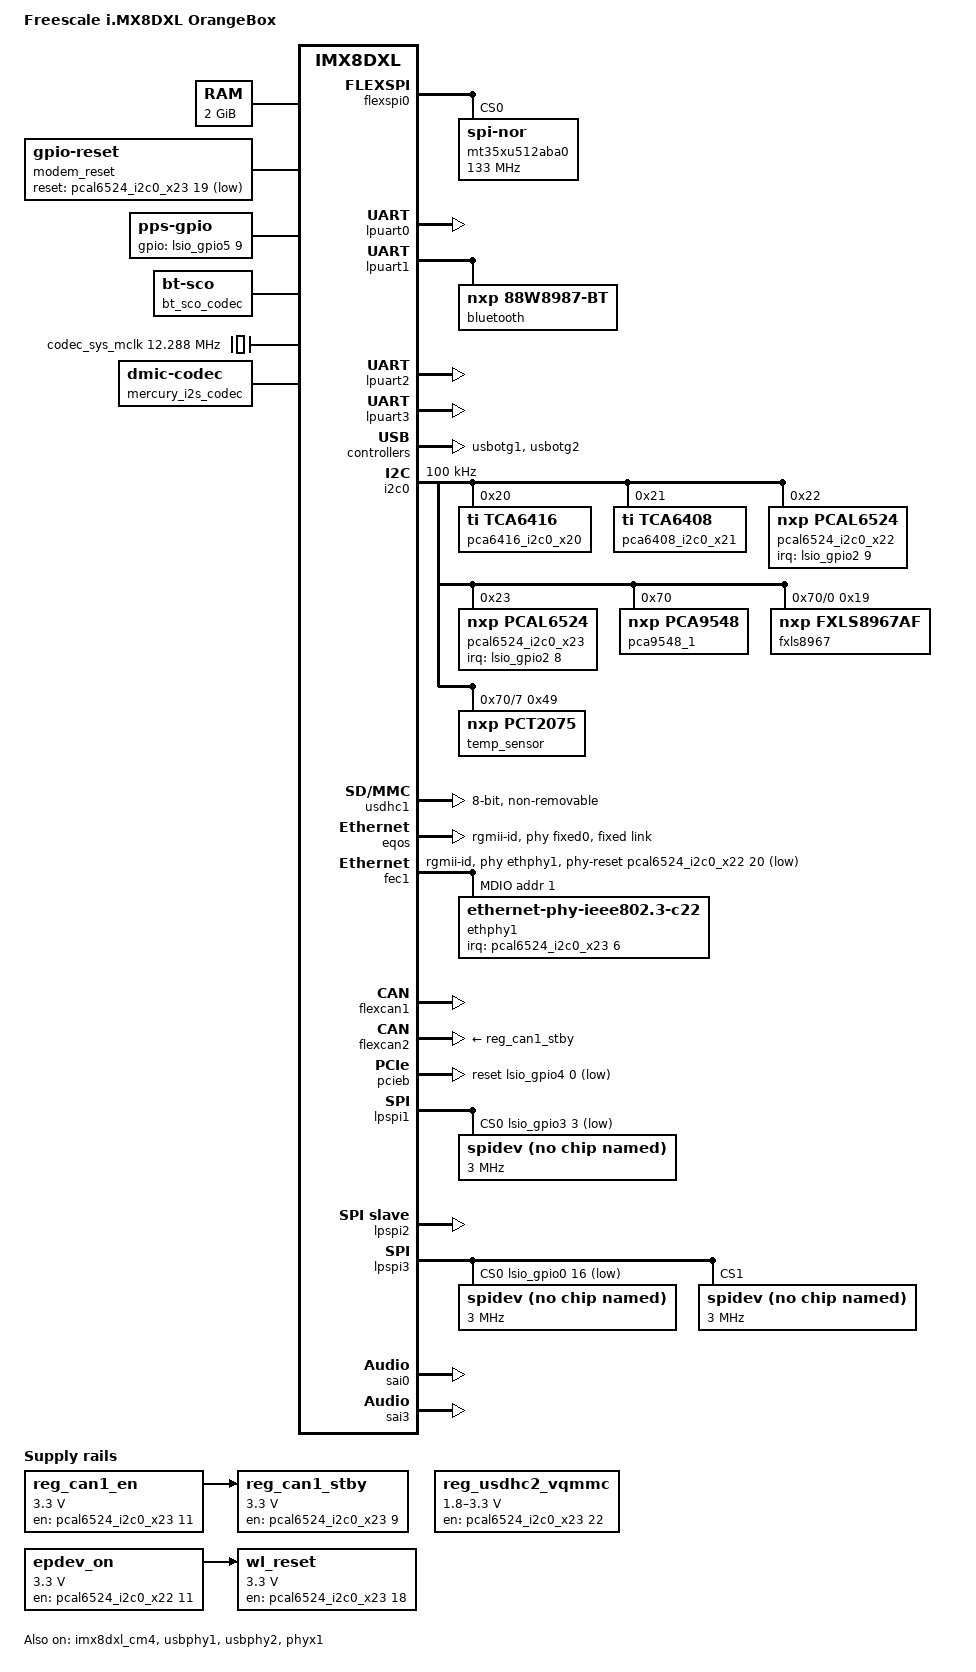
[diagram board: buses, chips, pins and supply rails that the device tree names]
// SPDX-License-Identifier: GPL-2.0+
/*
 * Copyright 2022-2023 NXP
 */

/dts-v1/;

#include "imx8dxl.dtsi"

/ {
	model = "Freescale i.MX8DXL OrangeBox";
	compatible = "fsl,imx8dxl-orangebox", "fsl,imx8dxl";

	aliases {
		can0 = &flexcan1;
		can1 = &flexcan2;
	};

	chosen {
		stdout-path = &lpuart0;
	};

	memory@80000000 {
		device_type = "memory";
		reg = <0x00000000 0x80000000 0 0x80000000>;
	};

	reserved-memory {
		#address-cells = <2>;
		#size-cells = <2>;
		ranges;

/*
 *		Memory reserved for optee usage. Please do not use.
 *		This will be automaticky added to dtb if OP-TEE is installed.
 *		optee@96000000 {
 *			reg = <0 0x96000000 0 0x2000000>;
 *			no-map;
 *		};
 */
		/* global autoconfigured region for contiguous allocations */
		linux,cma {
			compatible = "shared-dma-pool";
			reusable;
			size = <0 0x14000000>;
			alloc-ranges = <0 0x98000000 0 0x14000000>;
			linux,cma-default;
		};

		vdev0vring0: vdev0vring0@90000000 {
			reg = <0 0x90000000 0 0x8000>;
			no-map;
		};

		vdev0vring1: vdev0vring1@90008000 {
			reg = <0 0x90008000 0 0x8000>;
			no-map;
		};

		vdev1vring0: vdev1vring0@90010000 {
			reg = <0 0x90010000 0 0x8000>;
			no-map;
		};

		vdev1vring1: vdev1vring1@90018000 {
			reg = <0 0x90018000 0 0x8000>;
			no-map;
		};

		rsc_table: rsc-table@900ff000 {
			reg = <0 0x900ff000 0 0x1000>;
			no-map;
		};

		vdevbuffer: vdevbuffer {
			compatible = "shared-dma-pool";
			reg = <0 0x90400000 0 0x100000>;
			no-map;
		};
	};

	modem_reset: modem-reset {
		compatible = "gpio-reset";
		reset-gpios = <&pcal6524_i2c0_x23 19 GPIO_ACTIVE_LOW>;
		reset-delay-us = <2000>;
		reset-post-delay-ms = <40>;
		#reset-cells = <0>;
	};

	pps {
		compatible = "pps-gpio";
		pinctrl-names = "default";
		pinctrl-0 = <&pinctrl_pps>;
		gpios = <&lsio_gpio5 9 GPIO_ACTIVE_HIGH>;
		status = "okay";
	};

	reg_can1_en: regulator-can1-en{
		compatible = "regulator-fixed";
		regulator-name = "can1-en";
		regulator-min-microvolt = <3300000>;
		regulator-max-microvolt = <3300000>;
		gpio = <&pcal6524_i2c0_x23 11 GPIO_ACTIVE_HIGH>;
		enable-active-high;
	};

	reg_can1_stby: regulator-can1-stby {
		compatible = "regulator-fixed";
		regulator-name = "can1-stby";
		regulator-min-microvolt = <3300000>;
		regulator-max-microvolt = <3300000>;
		gpio = <&pcal6524_i2c0_x23 9 GPIO_ACTIVE_HIGH>;
		enable-active-high;
		vin-supply = <&reg_can1_en>;
	};

	reg_usdhc2_vqmmc: regulator-1 {
		compatible = "regulator-gpio";
		regulator-name = "usdhc2_1v8_3v3";
		regulator-min-microvolt = <1800000>;
		regulator-max-microvolt = <3300000>;
		enable-gpios = <&pcal6524_i2c0_x23 22 GPIO_ACTIVE_HIGH>;
		gpios = <&pcal6524_i2c0_x23 17 GPIO_ACTIVE_HIGH>;
		states = <1800000 1>, <3300000 0>;
		enable-active-high;
	};

	epdev_on: regulator-2 {
		compatible = "regulator-fixed";
		regulator-min-microvolt = <3300000>;
		regulator-max-microvolt = <3300000>;
		regulator-name = "epdev_on";
		gpio = <&pcal6524_i2c0_x22 11 GPIO_ACTIVE_HIGH>;
		startup-delay-us = <100000>;
		off-on-delay-us = <100000>;
		enable-active-high;
	};

	wl_reset: regulator-3 {
		compatible = "regulator-fixed";
		regulator-min-microvolt = <3300000>;
		regulator-max-microvolt = <3300000>;
		regulator-name = "wl_reg_on";
		gpio = <&pcal6524_i2c0_x23 18 GPIO_ACTIVE_HIGH>;
		enable-active-high;
		startup-delay-us = <100000>;
		off-on-delay-us = <100000>;
		regulator-always-on;
		regulator-boot-on;
		vin-supply = <&epdev_on>;
	};

	bt_sco_codec: audio-codec-1 {
		#sound-dai-cells = <1>;
		compatible = "linux,bt-sco";
	};

	sound-bt-sco {
		compatible = "simple-audio-card";
		simple-audio-card,name = "bt-sco-audio";
		simple-audio-card,format = "dsp_a";
		simple-audio-card,bitclock-inversion;
		simple-audio-card,frame-master = <&btcpu>;
		simple-audio-card,bitclock-master = <&btcpu>;

		btcpu: simple-audio-card,cpu {
			sound-dai = <&sai0>;
			dai-tdm-slot-num = <2>;
			dai-tdm-slot-width = <16>;
		};

		simple-audio-card,codec {
			sound-dai = <&bt_sco_codec 1>;
		};
	};

	codec_sys_mclk: clock-0 {
		compatible = "fixed-clock";
		clock-frequency = <12288000>;
		clock-output-names = "codec_sys_mclk";
		#clock-cells = <0>;
	};

	mercury_i2s_codec: audio-codec-2 {
		#sound-dai-cells = <0>;
		compatible = "dmic-codec";
		num-channels = <2>;
	};

	sound-mercury {
		compatible = "simple-audio-card";
		simple-audio-card,name = "mercury-audio";
		simple-audio-card,format = "i2s";
		simple-audio-card,frame-master = <&codec>;
		simple-audio-card,bitclock-master = <&codec>;

		simple-audio-card,cpu {
			sound-dai = <&sai3>;
			dai-tdm-slot-num = <2>;
			dai-tdm-slot-width = <32>;
		};

		codec: simple-audio-card,codec {
			sound-dai = <&mercury_i2s_codec>;
		};
	};
};

&edma2 {
	status = "okay";
};

&edma3 {
	status = "okay";
};

&flexspi0 {
	pinctrl-names = "default";
	pinctrl-0 = <&pinctrl_flexspi0>;
	nxp,fspi-dll-slvdly = <4>;
	status = "okay";

	mt35xu512aba0: flash@0 {
		reg = <0>;
		#address-cells = <1>;
		#size-cells = <1>;
		compatible = "jedec,spi-nor";
		spi-max-frequency = <133000000>;
		spi-tx-bus-width = <8>;
		spi-rx-bus-width = <8>;
	};
};

&imx8dxl_cm4 {
	memory-region = <&vdevbuffer>, <&vdev0vring0>, <&vdev0vring1>,
			<&vdev1vring0>, <&vdev1vring1>, <&rsc_table>;
	status = "okay";
};

&cm40_intmux {
	status = "disabled";
};

&lpuart0 {
	pinctrl-names = "default";
	pinctrl-0 = <&pinctrl_lpuart0>;
	status = "okay";
};

&lpuart1 {
	pinctrl-names = "default";
	pinctrl-0 = <&pinctrl_lpuart1>;
	resets = <&modem_reset>;
	status = "okay";

	bluetooth {
		compatible = "nxp,88w8987-bt";
		fw-init-baudrate = <3000000>;
	};
};

&lpuart2 {
	pinctrl-names = "default";
	pinctrl-0 = <&pinctrl_lpuart2>;
	status = "okay";
};

&lpuart3 {
	pinctrl-names = "default";
	pinctrl-0 = <&pinctrl_lpuart3>;
	status = "okay";
};

&cm40_lpuart {
	pinctrl-names = "default";
	pinctrl-0 = <&pinctrl_cm40_lpuart>;
	status = "disabled";
};

&thermal_zones {
	pmic-thermal0 {
		polling-delay-passive = <250>;
		polling-delay = <2000>;
		thermal-sensors = <&tsens IMX_SC_R_PMIC_0>;
		trips {
			pmic_alert0: trip0 {
				temperature = <110000>;
				hysteresis = <2000>;
				type = "passive";
			};
			pmic_crit0: trip1 {
				temperature = <125000>;
				hysteresis = <2000>;
				type = "critical";
			};
		};
		cooling-maps {
			map0 {
				trip = <&pmic_alert0>;
				cooling-device =
					<&A35_0 THERMAL_NO_LIMIT THERMAL_NO_LIMIT>,
					<&A35_1 THERMAL_NO_LIMIT THERMAL_NO_LIMIT>;
			};
		};
	};
};

&usbphy1 {
	status = "okay";
	fsl,tx-d-cal = <114>;
};

&usbotg1 {
	pinctrl-names = "default";
	pinctrl-0 = <&pinctrl_usbotg1>;
	srp-disable;
	hnp-disable;
	adp-disable;
	power-active-high;
	disable-over-current;
	status = "okay";
};

&usbphy2 {
	status = "okay";
	fsl,tx-d-cal = <111>;
};

&usbotg2 {
	pinctrl-names = "default";
	pinctrl-0 = <&pinctrl_usbotg2>;
	srp-disable;
	hnp-disable;
	adp-disable;
	power-active-high;
	disable-over-current;
	status = "okay";
};

&i2c0 {
	#address-cells = <1>;
	#size-cells = <0>;
	clock-frequency = <100000>;
	pinctrl-names = "default";
	pinctrl-0 = <&pinctrl_i2c0>;
	status = "okay";

	pca6416_i2c0_x20: gpio@20 {
		compatible = "ti,tca6416";
		reg = <0x20>;
		gpio-controller;
		#gpio-cells = <2>;
	};

	pca6408_i2c0_x21: gpio@21 {
		compatible = "ti,tca6408";
		reg = <0x21>;
		gpio-controller;
		#gpio-cells = <2>;
		gpio-line-names =
			"V2X_CARD_PRSNT_B",
			"MDM_CARD_PRSNT_B",
			"MDM_CARD_TYPE0",
			"MDM_CARD_TYPE1",
			"MDM_CARD_TYPE2",
			"MDM_CARD_REV0",
			"MDM_CARD_REV1",
			"MERCURY_CARD_PRSNT_B";
	};

	pcal6524_i2c0_x22: gpio@22 {
		compatible = "nxp,pcal6524";
		pinctrl-names = "default";
		pinctrl-0 = <&pinctrl_pcal6524_i2c0_x22>;
		reg = <0x22>;
		gpio-controller;
		#gpio-cells = <2>;
		interrupt-controller;
		#interrupt-cells = <2>;
		interrupt-parent = <&lsio_gpio2>;
		interrupts = <9 IRQ_TYPE_EDGE_BOTH>;
		gpio-line-names =
			"INTB_MERCURY",
			"SXF1800_GPIO0",
			"SXF1800_GPIO1",
			"M2_WIFI_WAKE_B",
			"MDM_PWRKEY",
			"",
			"V2X_PMIC_STANBY",
			"SDHC1_CD_B",
			"RST_SXF1800_B",
			"M2_WIFI_EN",
			"M2_DEV_WLAN_WAKE",
			"M2_DEV_BT_WAKE",
			"MDM_GPIO131",
			"MDM_GPIO132",
			"MDM_GPIO133",
			"MDM_GPIO27",
			"GPIO_MDM_RST_B",
			"GPIO_ESW_RST_CORE_B",
			"GPIO_GNSS_RST_B",
			"GPIO_ENET0_PHY_RST_B",
			"GPIO_S32K_RST_B",
			"MDM_GPIO134",
			"MDM_GPIO135";

		epon_hog: epon-select-hog {
			gpio-hog;
			gpios = <11 GPIO_ACTIVE_HIGH>;
			output-low;
			line-name = "epdev selelct";
		};
	};

	pcal6524_i2c0_x23: gpio@23 {
		compatible = "nxp,pcal6524";
		pinctrl-names = "default";
		pinctrl-0 = <&pinctrl_pcal6524_i2c0_x23>;
		reg = <0x23>;
		gpio-controller;
		#gpio-cells = <2>;
		interrupt-controller;
		#interrupt-cells = <2>;
		interrupt-parent = <&lsio_gpio2>;
		interrupts = <8 IRQ_TYPE_EDGE_BOTH>;
		gpio-line-names =
			"BATT_CHGOK_B",
			"IMX_CAN1_EN",
			"M2_BT_UART_WAKE_B",
			"ESW_INT_B",
			"IMX_GNSS_GEOFENCE_STAT",
			"IMX_GNSS_RTK_STAT",
			"ENET0_PHY_INT_B",
			"BRD_THERM_FLT_B",
			"IMX_CAN0_STB_B",
			"IMX_CAN1_STB_B",
			"IMX_CAN0_EN",
			"IMX_CAN1_EN",
			"CFG_MUX_MERCURY_I2S_SEL",
			"CFG_MUX_RGMII0_SDHC_SEL",
			"CFG_MUX_USB1_SEL0",
			"CFG_MUX_USB1_SEL1",
			"IMX_GNSS_EXT_INT",
			"SDHC1_VSELECT",
			"M2_WIFI_DIS_B",
			"M2_BT_DIS_B",
			"CFG_MUX_IMX_MDM_M2_SEL",
			"PWR_EN_SXF1800",
			"SDHC1_RST_B",
			"CFG_MUX_GNSS_1PPS_SEL";

		cfg_mux_mercury_i2s_sel {
			gpio-hog;
			gpios = <12 GPIO_ACTIVE_HIGH>;
			output-low;
			line-name = "cfg_mux_mercury_i2s_sel";
		};

		fec1_select_hog: fec1-select-hog {
			gpio-hog;
			gpios = <13 GPIO_ACTIVE_LOW>;
			output-high;
			line-name = "fec1_select";
		};

		wl_disable: m2-wifi-dis-hog {
			gpio-hog;
			gpios = <18 GPIO_ACTIVE_HIGH>;
			output-low;
			line-name = "m.2_wifi_dis_b";
		};

		pwr_en_sxf1800 {
			gpio-hog;
			gpios = <21 GPIO_ACTIVE_HIGH>;
			output-high;
			line-name = "SXF1800 Power enable";
		};
	};

	pca9548_1: pca9548@70 {
		compatible = "nxp,pca9548";
		#address-cells = <1>;
		#size-cells = <0>;
		reg = <0x70>;

		i2c@0 {
			#address-cells = <1>;
			#size-cells = <0>;
			reg = <0x0>;

			fxls8967@19 {
				compatible = "nxp,fxls8967af";
				reg = <0x19>;
				status = "okay";
			};
		};

		i2c@1 {
			#address-cells = <1>;
			#size-cells = <0>;
			reg = <0x1>;

			gnss@42 {
				reg = <0x42>;
				status = "disabled";
			};

			eeprom@50 {
				compatible = "atmel,24c08";
				pagesize = <16>;
				reg = <0x50>;
				status = "disabled";
			};
		};

		i2c@2 {
			#address-cells = <1>;
			#size-cells = <0>;
			reg = <0x2>;
		};

		i2c@3 {
			#address-cells = <1>;
			#size-cells = <0>;
			reg = <0x3>;

			clk_gen@6b {
				reg = <0x6b>;
				status = "disabled";
			};
		};

		i2c@4 {
			#address-cells = <1>;
			#size-cells = <0>;
			reg = <0x4>;
		};

		i2c@5 {
			#address-cells = <1>;
			#size-cells = <0>;
			reg = <0x5>;
		};

		i2c@6 {
			#address-cells = <1>;
			#size-cells = <0>;
			reg = <0x6>;

			mercury_card@27 {
				reg = <0x27>;
				status = "disabled";
			};
		};

		i2c@7 {
			#address-cells = <1>;
			#size-cells = <0>;
			reg = <0x7>;

			temp_sensor@49 {
				compatible = "nxp,pct2075";
				reg = <0x49>;
			};
		};
	};
};

&lsio_gpio0 {
	gpio-line-names =
		"", "", "", "", /* 0-3 */
		"", "", "", "", /* 4-7 */
		"", "", "", "", /* 8-11 */
		"",
		"IMX_SPI3_SCK", /* 13 */
		"IMX_SPI3_MOSI",
		"IMX_SPI3_MISO",
		"IMX_SPI3_CS0_B",
		"", "",
		"TP67", /* 16 */
		"TP68",
		"IMX_UART1_TXD",
		"IMX_UART1_RXD",
		"IMX_UART1_RTS",
		"IMX_UART1_CTS";

	status = "okay";
};

&lsio_gpio1 {
	gpio-line-names =
		"", "", "", "", /* 0 -3 */
		"IMX_SAI0_TXC", /* 4 */
		"IMX_SAI0_TXD",
		"IMX_SAI0_TXFS",
		"IMX_V2X_RST_B",
		"IMX_SAI0_RXD", /* 8 */
		"IMX_I2C0_1V8_SDA",
		"IMX_I2C0_1V8_SCL",
		"IMX_M40_UART0_1V8_TX",
		"IMX_M40_UART0_1V8_RX", /* 12 */
		"IMX_PAD_AG35",
		"",
		"IMX_CAN0_3V3_RX",
		"IMX_CAN0_3V3_TX", /* 16 */
		"IMX_CAN1_3V3_RX",
		"IMX_CAN1_3V3_TX",
		"IMX_UART3_3V3_RX",
		"IMX_UART3_3V3_TX", /* 20 */
		"IMX_UART0_3V3_RX",
		"IMX_UART0_3V3_TX",
		"IMX_UART2_3V3_TX",
		"IMX_UART2_3V3_RX"; /* 24 */
	status = "okay";
};

&lsio_gpio2 {
	status = "okay";
};

&lsio_gpio4 {
	status = "okay";
};

&lsio_gpio5 {
	status = "okay";
};

&usdhc1 {
	pinctrl-names = "default", "state_100mhz", "state_200mhz";
	pinctrl-0 = <&pinctrl_usdhc1>;
	pinctrl-1 = <&pinctrl_usdhc1_100mhz>;
	pinctrl-2 = <&pinctrl_usdhc1_200mhz>;
	bus-width = <8>;
	no-sd;
	no-sdio;
	non-removable;
	status = "okay";
};

&eqos {
	pinctrl-names = "default";
	pinctrl-0 = <&pinctrl_eqos>;
	phy-mode = "rgmii-id";
	phy-handle = <&fixed0>;
	nvmem-cells = <&fec_mac1>;
	nvmem-cell-names = "mac-address";
	status = "okay";

	fixed0:fixed-link {
		speed = <1000>;
		full-duplex;
	};
};

&fec1 {
	pinctrl-names = "default";
	pinctrl-0 = <&pinctrl_fec1>;
	phy-mode = "rgmii-id";
	phy-handle = <&ethphy1>;
	fsl,magic-packet;
	nvmem-cells = <&fec_mac0>;
	nvmem-cell-names = "mac-address";
	phy-reset-gpios = <&pcal6524_i2c0_x22 20 GPIO_ACTIVE_LOW>;
	phy-reset-duration = <10>;
	phy-reset-post-delay = <150>;
	assigned-clocks = <&clk IMX_SC_R_ENET_0 IMX_SC_C_CLKDIV>;
	assigned-clock-rates = <12000000>;
	status = "okay";

	mdio {
		#address-cells = <1>;
		#size-cells = <0>;

		/* Realtek RTL8211F (0x001cc916) */
		ethphy1: ethernet-phy@1 {
			compatible = "ethernet-phy-ieee802.3-c22";
			interrupt-parent = <&pcal6524_i2c0_x23>;
			interrupts = <6 IRQ_TYPE_LEVEL_LOW>;
			reg = <1>;
			max-speed = <1000>;
		};
	};
};

&flexcan1 {
	pinctrl-names = "default";
	pinctrl-0 = <&pinctrl_flexcan1>;
	status = "okay";
};

&flexcan2 {
	pinctrl-names = "default";
	pinctrl-0 = <&pinctrl_flexcan2>;
	xceiver-supply = <&reg_can1_stby>;
	status = "okay";
};

&usdhc2 {
	pinctrl-names = "default", "state_100mhz", "state_200mhz";
	pinctrl-0 = <&pinctrl_usdhc2>;
	pinctrl-1 = <&pinctrl_usdhc2_100mhz>;
	pinctrl-2 = <&pinctrl_usdhc2_200mhz>;
	bus-width = <4>;
	cd-gpios = <&pcal6524_i2c0_x22 7 GPIO_ACTIVE_LOW>;
	vqmmc-supply = <&reg_usdhc2_vqmmc>;
	max-frequency = <100000000>;
	status = "disabled";
};

&usdhc3 {
	pinctrl-names = "default", "state_100mhz", "state_200mhz";
	pinctrl-0 = <&pinctrl_usdhc3>;
	pinctrl-1 = <&pinctrl_usdhc3_100mhz>;
	pinctrl-2 = <&pinctrl_usdhc3_200mhz>;
	bus-width = <4>;
	no-sd;
	non-removable;
	max-frequency = <100000000>;
	status = "disabled";
};

&phyx1 {
	fsl,refclk-pad-mode = <IMX8_PCIE_REFCLK_PAD_OUTPUT>;
	status = "okay";
};

&pcieb{
	pinctrl-names = "default";
	pinctrl-0 = <&pinctrl_pcieb>;
	clkreq-gpio = <&lsio_gpio4 1 GPIO_ACTIVE_LOW>;
	reset-gpio = <&lsio_gpio4 0 GPIO_ACTIVE_LOW>;
	vpcie-supply = <&epdev_on>;
	status = "okay";
};

&lpspi1 {
	fsl,spi-num-chipselects = <1>;
	pinctrl-names = "default";
	pinctrl-0 = <&pinctrl_lpspi1 &pinctrl_lpspi1_cs>;
	cs-gpios = <&lsio_gpio3 3 GPIO_ACTIVE_LOW>;
	status = "okay";

	spidev@0 {
		compatible = "rohm,dh2228fv";
		spi-max-frequency = <3000000>;
		reg = <0>;
	};
};

&lpspi2 {
	pinctrl-names = "default";
	pinctrl-0 = <&pinctrl_lpspi2>;
	spi-slave;
	status = "okay";
};

&lpspi3 {
	num-cs = <2>;
	cs-gpios = <&lsio_gpio0 16 GPIO_ACTIVE_LOW>, <0>;
	pinctrl-names = "default";
	pinctrl-0 = <&pinctrl_lpspi3>;
	status = "okay";

	spidev@0 {
		compatible = "rohm,dh2228fv";
		spi-max-frequency = <3000000>;
		reg = <0>;
	};

	spidev@1 {
		compatible = "rohm,dh2228fv";
		spi-max-frequency = <3000000>;
		reg = <1>;
	};
};

&sai0 {
	#sound-dai-cells = <0>;
	assigned-clocks = <&clk IMX_SC_R_AUDIO_PLL_0 IMX_SC_PM_CLK_PLL>,
			<&clk IMX_SC_R_AUDIO_PLL_0 IMX_SC_PM_CLK_SLV_BUS>,
			<&clk IMX_SC_R_AUDIO_PLL_0 IMX_SC_PM_CLK_MST_BUS>,
			<&sai0_lpcg 0>;
	assigned-clock-rates = <786432000>, <49152000>, <12288000>, <49152000>;
	pinctrl-names = "default";
	pinctrl-0 = <&pinctrl_sai0>;
	status = "okay";
};

&sai3 {
	#sound-dai-cells = <0>;
	assigned-clocks = <&clk IMX_SC_R_AUDIO_PLL_0 IMX_SC_PM_CLK_PLL>,
			<&clk IMX_SC_R_AUDIO_PLL_0 IMX_SC_PM_CLK_SLV_BUS>,
			<&clk IMX_SC_R_AUDIO_PLL_0 IMX_SC_PM_CLK_MST_BUS>,
			<&sai3_lpcg 0>;
	assigned-clock-rates = <786432000>, <49152000>, <12288000>, <49152000>;
	pinctrl-names = "default";
	pinctrl-0 = <&pinctrl_sai3>;
	fsl,sai-asynchronous;
	status = "okay";
};

&iomuxc {
	pinctrl-names = "default";
	pinctrl-0 = <&pinctrl_hog>;

	pinctrl_hog: hoggrp {
		fsl,pins = <
			IMX8DXL_COMP_CTL_GPIO_1V8_3V3_GPIORHB_PAD	0x000514a0
			IMX8DXL_COMP_CTL_GPIO_1V8_3V3_GPIORHK_PAD	0x000014a0
			IMX8DXL_SPI0_CS1_LSIO_GPIO1_IO07                0x000014a0
		>;
	};

	pinctrl_usbotg1: otg1 {
		fsl,pins = <
			IMX8DXL_USB_SS3_TC0_CONN_USB_OTG1_PWR		0x00000021
		>;
	};

	pinctrl_usbotg2: otg2 {
		fsl,pins = <
			IMX8DXL_USB_SS3_TC1_CONN_USB_OTG2_PWR		0x00000021
		>;
	};

	pinctrl_pps: pps {
		fsl,pins = <
			IMX8DXL_ENET0_REFCLK_125M_25M_LSIO_GPIO5_IO09	0x04000021
		>;
	};

	pinctrl_flexcan1: flexcan1grp {
		fsl,pins = <
			IMX8DXL_FLEXCAN0_TX_ADMA_FLEXCAN0_TX	0x00000021
			IMX8DXL_FLEXCAN0_RX_ADMA_FLEXCAN0_RX	0x00000021
		>;
	};

	pinctrl_flexcan2: flexcan2grp {
		fsl,pins = <
			IMX8DXL_FLEXCAN1_TX_ADMA_FLEXCAN1_TX	0x00000021
			IMX8DXL_FLEXCAN1_RX_ADMA_FLEXCAN1_RX	0x00000021
		>;
	};

	pinctrl_flexspi0: flexspi0grp {
		fsl,pins = <
			IMX8DXL_QSPI0A_DATA0_LSIO_QSPI0A_DATA0		0x06000021
			IMX8DXL_QSPI0A_DATA1_LSIO_QSPI0A_DATA1		0x06000021
			IMX8DXL_QSPI0A_DATA2_LSIO_QSPI0A_DATA2		0x06000021
			IMX8DXL_QSPI0A_DATA3_LSIO_QSPI0A_DATA3		0x06000021
			IMX8DXL_QSPI0A_DQS_LSIO_QSPI0A_DQS		0x06000021
			IMX8DXL_QSPI0A_SS0_B_LSIO_QSPI0A_SS0_B		0x06000021
			IMX8DXL_QSPI0A_SCLK_LSIO_QSPI0A_SCLK		0x06000021
			IMX8DXL_QSPI0B_SCLK_LSIO_GPIO3_IO17		0x06000021 /* GNSS_WHEELTICK_1V8 */
			IMX8DXL_QSPI0B_DATA0_LSIO_QSPI0B_DATA0		0x06000021
			IMX8DXL_QSPI0B_DATA1_LSIO_QSPI0B_DATA1		0x06000021
			IMX8DXL_QSPI0B_DATA2_LSIO_QSPI0B_DATA2		0x06000021
			IMX8DXL_QSPI0B_DATA3_LSIO_QSPI0B_DATA3		0x06000021
			IMX8DXL_QSPI0B_DQS_LSIO_GPIO3_IO22		0x06000021 /* GNSS_DIR_1V8 */
			IMX8DXL_QSPI0B_SS0_B_LSIO_GPIO3_IO23		0x06000021 /* MERCURY_GPIO2_1V8 */
		>;
	};

	pinctrl_lpuart0: lpuart0grp {
		fsl,pins = <
			IMX8DXL_UART0_RX_ADMA_UART0_RX		0x06000020
			IMX8DXL_UART0_TX_ADMA_UART0_TX		0x06000020
		>;
	};

	pinctrl_pcieb: pcieagrp{
		fsl,pins = <
			IMX8DXL_PCIE_CTRL0_PERST_B_LSIO_GPIO4_IO00      0x06000021
			IMX8DXL_PCIE_CTRL0_CLKREQ_B_LSIO_GPIO4_IO01     0x06000021
			IMX8DXL_PCIE_CTRL0_WAKE_B_LSIO_GPIO4_IO02       0x04000021
		>;
	};

	pinctrl_lpuart1: lpuart1grp {
		fsl,pins = <
			IMX8DXL_UART1_TX_ADMA_UART1_TX          0x06000020
			IMX8DXL_UART1_RX_ADMA_UART1_RX          0x06000020
			IMX8DXL_UART1_RTS_B_ADMA_UART1_RTS_B    0x06000020
			IMX8DXL_UART1_CTS_B_ADMA_UART1_CTS_B    0x06000020
		>;
	};

	pinctrl_lpuart2: lpuart2grp {
		fsl,pins = <
			IMX8DXL_UART2_RX_ADMA_UART2_RX          0x06000020
			IMX8DXL_UART2_TX_ADMA_UART2_TX          0x06000020
		>;
	};

	pinctrl_lpuart3: lpuart3grp {
		fsl,pins = <
			IMX8DXL_FLEXCAN2_TX_ADMA_UART3_TX          0x06000020
			IMX8DXL_FLEXCAN2_RX_ADMA_UART3_RX          0x06000020
		>;
	};

	pinctrl_i2c0: i2c0grp {
		fsl,pins = <
			IMX8DXL_ADC_IN0_ADMA_I2C0_SCL		0x06000021
			IMX8DXL_ADC_IN1_ADMA_I2C0_SDA		0x06000021
		>;
	};

	pinctrl_cm40_lpuart: cm40_lpuartgrp {
		fsl,pins = <
			IMX8DXL_ADC_IN2_M40_UART0_RX		0x06000020
			IMX8DXL_ADC_IN3_M40_UART0_TX		0x06000020
		>;
	};

	pinctrl_usdhc1: usdhc1grp {
		fsl,pins = <
			IMX8DXL_EMMC0_CLK_CONN_EMMC0_CLK	0x06000041
			IMX8DXL_EMMC0_CMD_CONN_EMMC0_CMD	0x00000021
			IMX8DXL_EMMC0_DATA0_CONN_EMMC0_DATA0	0x00000021
			IMX8DXL_EMMC0_DATA1_CONN_EMMC0_DATA1	0x00000021
			IMX8DXL_EMMC0_DATA2_CONN_EMMC0_DATA2	0x00000021
			IMX8DXL_EMMC0_DATA3_CONN_EMMC0_DATA3	0x00000021
			IMX8DXL_EMMC0_DATA4_CONN_EMMC0_DATA4	0x00000021
			IMX8DXL_EMMC0_DATA5_CONN_EMMC0_DATA5	0x00000021
			IMX8DXL_EMMC0_DATA6_CONN_EMMC0_DATA6	0x00000021
			IMX8DXL_EMMC0_DATA7_CONN_EMMC0_DATA7	0x00000021
			IMX8DXL_EMMC0_STROBE_CONN_EMMC0_STROBE	0x00000041
		>;
	};

	pinctrl_usdhc1_100mhz: usdhc1grp100mhz {
		fsl,pins = <
			IMX8DXL_EMMC0_CLK_CONN_EMMC0_CLK	0x06000041
			IMX8DXL_EMMC0_CMD_CONN_EMMC0_CMD	0x00000021
			IMX8DXL_EMMC0_DATA0_CONN_EMMC0_DATA0	0x00000021
			IMX8DXL_EMMC0_DATA1_CONN_EMMC0_DATA1	0x00000021
			IMX8DXL_EMMC0_DATA2_CONN_EMMC0_DATA2	0x00000021
			IMX8DXL_EMMC0_DATA3_CONN_EMMC0_DATA3	0x00000021
			IMX8DXL_EMMC0_DATA4_CONN_EMMC0_DATA4	0x00000021
			IMX8DXL_EMMC0_DATA5_CONN_EMMC0_DATA5	0x00000021
			IMX8DXL_EMMC0_DATA6_CONN_EMMC0_DATA6	0x00000021
			IMX8DXL_EMMC0_DATA7_CONN_EMMC0_DATA7	0x00000021
			IMX8DXL_EMMC0_STROBE_CONN_EMMC0_STROBE	0x00000041
		>;
	};

	pinctrl_usdhc1_200mhz: usdhc1grp200mhz {
		fsl,pins = <
			IMX8DXL_EMMC0_CLK_CONN_EMMC0_CLK	0x06000041
			IMX8DXL_EMMC0_CMD_CONN_EMMC0_CMD	0x00000021
			IMX8DXL_EMMC0_DATA0_CONN_EMMC0_DATA0	0x00000021
			IMX8DXL_EMMC0_DATA1_CONN_EMMC0_DATA1	0x00000021
			IMX8DXL_EMMC0_DATA2_CONN_EMMC0_DATA2	0x00000021
			IMX8DXL_EMMC0_DATA3_CONN_EMMC0_DATA3	0x00000021
			IMX8DXL_EMMC0_DATA4_CONN_EMMC0_DATA4	0x00000021
			IMX8DXL_EMMC0_DATA5_CONN_EMMC0_DATA5	0x00000021
			IMX8DXL_EMMC0_DATA6_CONN_EMMC0_DATA6	0x00000021
			IMX8DXL_EMMC0_DATA7_CONN_EMMC0_DATA7	0x00000021
			IMX8DXL_EMMC0_STROBE_CONN_EMMC0_STROBE	0x00000041
		>;
	};

	pinctrl_eqos_mdio: eqosmdiogrp {
		fsl,pins = <
			IMX8DXL_ENET0_MDC_CONN_ENET0_MDC		0x06000020
			IMX8DXL_ENET0_MDIO_CONN_EQOS_MDIO		0x06000020
		>;
	};

	pinctrl_eqos: eqosgrp {
		fsl,pins = <
			IMX8DXL_ENET1_RGMII_TX_CTL_CONN_EQOS_RGMII_TX_CTL	0x06000020
			IMX8DXL_ENET1_RGMII_TXC_CONN_EQOS_RGMII_TXC		0x06000020
			IMX8DXL_ENET1_RGMII_TXD0_CONN_EQOS_RGMII_TXD0		0x06000020
			IMX8DXL_ENET1_RGMII_TXD1_CONN_EQOS_RGMII_TXD1		0x06000020
			IMX8DXL_ENET1_RGMII_TXD2_CONN_EQOS_RGMII_TXD2		0x06000020
			IMX8DXL_ENET1_RGMII_TXD3_CONN_EQOS_RGMII_TXD3		0x06000020
			IMX8DXL_ENET1_RGMII_RXC_CONN_EQOS_RGMII_RXC		0x06000020
			IMX8DXL_ENET1_RGMII_RX_CTL_CONN_EQOS_RGMII_RX_CTL	0x06000020
			IMX8DXL_ENET1_RGMII_RXD0_CONN_EQOS_RGMII_RXD0		0x06000020
			IMX8DXL_ENET1_RGMII_RXD1_CONN_EQOS_RGMII_RXD1		0x06000020
			IMX8DXL_ENET1_RGMII_RXD2_CONN_EQOS_RGMII_RXD2		0x06000020
			IMX8DXL_ENET1_RGMII_RXD3_CONN_EQOS_RGMII_RXD3		0x06000020
		>;
	};

	pinctrl_fec1: fec1grp {
		fsl,pins = <
			IMX8DXL_ENET0_MDC_CONN_ENET0_MDC			0x06000020
			IMX8DXL_ENET0_MDIO_CONN_ENET0_MDIO			0x06000020
			IMX8DXL_ENET0_RGMII_TX_CTL_CONN_ENET0_RGMII_TX_CTL	0x00000060
			IMX8DXL_ENET0_RGMII_TXC_CONN_ENET0_RGMII_TXC		0x00000060
			IMX8DXL_ENET0_RGMII_TXD0_CONN_ENET0_RGMII_TXD0		0x00000060
			IMX8DXL_ENET0_RGMII_TXD1_CONN_ENET0_RGMII_TXD1		0x00000060
			IMX8DXL_ENET0_RGMII_TXD2_CONN_ENET0_RGMII_TXD2		0x00000060
			IMX8DXL_ENET0_RGMII_TXD3_CONN_ENET0_RGMII_TXD3		0x00000060
			IMX8DXL_ENET0_RGMII_RXC_CONN_ENET0_RGMII_RXC		0x00000060
			IMX8DXL_ENET0_RGMII_RX_CTL_CONN_ENET0_RGMII_RX_CTL	0x00000060
			IMX8DXL_ENET0_RGMII_RXD0_CONN_ENET0_RGMII_RXD0		0x00000060
			IMX8DXL_ENET0_RGMII_RXD1_CONN_ENET0_RGMII_RXD1		0x00000060
			IMX8DXL_ENET0_RGMII_RXD2_CONN_ENET0_RGMII_RXD2		0x00000060
			IMX8DXL_ENET0_RGMII_RXD3_CONN_ENET0_RGMII_RXD3		0x00000060
		>;
	};

	pinctrl_usdhc2: usdhc2grp {
		fsl,pins = <
			IMX8DXL_ENET0_RGMII_RXC_CONN_USDHC1_CLK		0x06000041
			IMX8DXL_ENET0_RGMII_RX_CTL_CONN_USDHC1_CMD	0x00000021
			IMX8DXL_ENET0_RGMII_RXD0_CONN_USDHC1_DATA0	0x00000021
			IMX8DXL_ENET0_RGMII_RXD1_CONN_USDHC1_DATA1	0x00000021
			IMX8DXL_ENET0_RGMII_RXD2_CONN_USDHC1_DATA2	0x00000021
			IMX8DXL_ENET0_RGMII_RXD3_CONN_USDHC1_DATA3	0x00000021
		>;
	};

	pinctrl_usdhc2_100mhz: usdhc2grp100mhz {
		fsl,pins = <
			IMX8DXL_ENET0_RGMII_RXC_CONN_USDHC1_CLK		0x06000041
			IMX8DXL_ENET0_RGMII_RX_CTL_CONN_USDHC1_CMD	0x00000021
			IMX8DXL_ENET0_RGMII_RXD0_CONN_USDHC1_DATA0	0x00000021
			IMX8DXL_ENET0_RGMII_RXD1_CONN_USDHC1_DATA1	0x00000021
			IMX8DXL_ENET0_RGMII_RXD2_CONN_USDHC1_DATA2	0x00000021
			IMX8DXL_ENET0_RGMII_RXD3_CONN_USDHC1_DATA3	0x00000021
		>;
	};

	pinctrl_usdhc2_200mhz: usdhc2grp200mhz {
		fsl,pins = <
			IMX8DXL_ENET0_RGMII_RXC_CONN_USDHC1_CLK		0x06000041
			IMX8DXL_ENET0_RGMII_RX_CTL_CONN_USDHC1_CMD	0x00000021
			IMX8DXL_ENET0_RGMII_RXD0_CONN_USDHC1_DATA0	0x00000021
			IMX8DXL_ENET0_RGMII_RXD1_CONN_USDHC1_DATA1	0x00000021
			IMX8DXL_ENET0_RGMII_RXD2_CONN_USDHC1_DATA2	0x00000021
			IMX8DXL_ENET0_RGMII_RXD3_CONN_USDHC1_DATA3	0x00000021
		>;
	};

	pinctrl_usdhc3: usdhc3grp {
		fsl,pins = <
			IMX8DXL_ENET0_RGMII_TXC_CONN_USDHC2_CLK         0x06000041
			IMX8DXL_ENET0_RGMII_TX_CTL_CONN_USDHC2_CMD      0x00000021
			IMX8DXL_ENET0_RGMII_TXD0_CONN_USDHC2_DATA0      0x00000021
			IMX8DXL_ENET0_RGMII_TXD1_CONN_USDHC2_DATA1      0x00000021
			IMX8DXL_ENET0_RGMII_TXD2_CONN_USDHC2_DATA2      0x00000021
			IMX8DXL_ENET0_RGMII_TXD3_CONN_USDHC2_DATA3      0x00000021
		>;
	};

	pinctrl_usdhc3_100mhz: usdhc3grp100mhz {
		fsl,pins = <
			IMX8DXL_ENET0_RGMII_TXC_CONN_USDHC2_CLK         0x06000041
			IMX8DXL_ENET0_RGMII_TX_CTL_CONN_USDHC2_CMD      0x00000021
			IMX8DXL_ENET0_RGMII_TXD0_CONN_USDHC2_DATA0      0x00000021
			IMX8DXL_ENET0_RGMII_TXD1_CONN_USDHC2_DATA1      0x00000021
			IMX8DXL_ENET0_RGMII_TXD2_CONN_USDHC2_DATA2      0x00000021
			IMX8DXL_ENET0_RGMII_TXD3_CONN_USDHC2_DATA3      0x00000021
		>;
	};

	pinctrl_usdhc3_200mhz: usdhc3grp200mhz {
		fsl,pins = <
			IMX8DXL_ENET0_RGMII_TXC_CONN_USDHC2_CLK         0x06000041
			IMX8DXL_ENET0_RGMII_TX_CTL_CONN_USDHC2_CMD      0x00000021
			IMX8DXL_ENET0_RGMII_TXD0_CONN_USDHC2_DATA0      0x00000021
			IMX8DXL_ENET0_RGMII_TXD1_CONN_USDHC2_DATA1      0x00000021
			IMX8DXL_ENET0_RGMII_TXD2_CONN_USDHC2_DATA2      0x00000021
			IMX8DXL_ENET0_RGMII_TXD3_CONN_USDHC2_DATA3      0x00000021
		>;
	};

	pinctrl_pcal6524_i2c0_x22: pcal6524i2c0x22grp {
		fsl,pins = <
			IMX8DXL_SNVS_TAMPER_IN0_LSIO_GPIO2_IO09_IN	0x24000021
		>;
	};

	pinctrl_pcal6524_i2c0_x23: pcal6524i2c0x23grp {
		fsl,pins = <
			IMX8DXL_SNVS_TAMPER_OUT4_LSIO_GPIO2_IO08_IN	0x24000021
		>;
	};

	pinctrl_lpspi1: lpspi1grp {
		fsl,pins = <
			IMX8DXL_SPI1_SCK_ADMA_SPI1_SCK          0x6000040
			IMX8DXL_SPI1_SDO_ADMA_SPI1_SDO          0x6000040
			IMX8DXL_SPI1_SDI_ADMA_SPI1_SDI          0x6000040
		>;
	};

	pinctrl_lpspi1_cs: lpspi1cs {
		fsl,pins = <
			IMX8DXL_SPI1_CS0_LSIO_GPIO3_IO03        0x21
		>;
	};

	pinctrl_lpspi2: lpspi2grp {
		fsl,pins = <
			IMX8DXL_USDHC1_VSELECT_ADMA_SPI2_SDO    0x6000040
			IMX8DXL_USDHC1_WP_ADMA_SPI2_SDI         0x6000040
			IMX8DXL_USDHC1_CD_B_ADMA_SPI2_CS0       0x6000040
			IMX8DXL_USDHC1_RESET_B_ADMA_SPI2_SCK    0x6000040
		>;
	};

	pinctrl_lpspi3: lpspi3grp {
		fsl,pins = <
			IMX8DXL_SPI3_SCK_ADMA_SPI3_SCK          0x6000040
			IMX8DXL_SPI3_SDO_ADMA_SPI3_SDO          0x6000040
			IMX8DXL_SPI3_SDI_ADMA_SPI3_SDI          0x6000040
			IMX8DXL_SPI3_CS0_LSIO_GPIO0_IO16          0x6000040
			IMX8DXL_SPI3_CS1_ADMA_SPI3_CS1          0x6000040
		>;
	};

	pinctrl_sai0: sai0grp {
		fsl,pins = <
			IMX8DXL_SPI0_CS0_ADMA_SAI0_RXD		0x06000040
			IMX8DXL_SPI0_SCK_ADMA_SAI0_TXC		0x06000040
			IMX8DXL_SPI0_SDI_ADMA_SAI0_TXD		0x06000040
			IMX8DXL_SPI0_SDO_ADMA_SAI0_TXFS		0x06000040
		>;
	};

	pinctrl_sai3: sai3grp {
		fsl,pins = <
			IMX8DXL_SNVS_TAMPER_IN1_ADMA_SAI3_RXC    0x06000040
			IMX8DXL_SNVS_TAMPER_IN3_ADMA_SAI3_RXFS   0x06000040
			IMX8DXL_SNVS_TAMPER_IN2_ADMA_SAI3_RXD    0x06000060
		>;
	};
};
